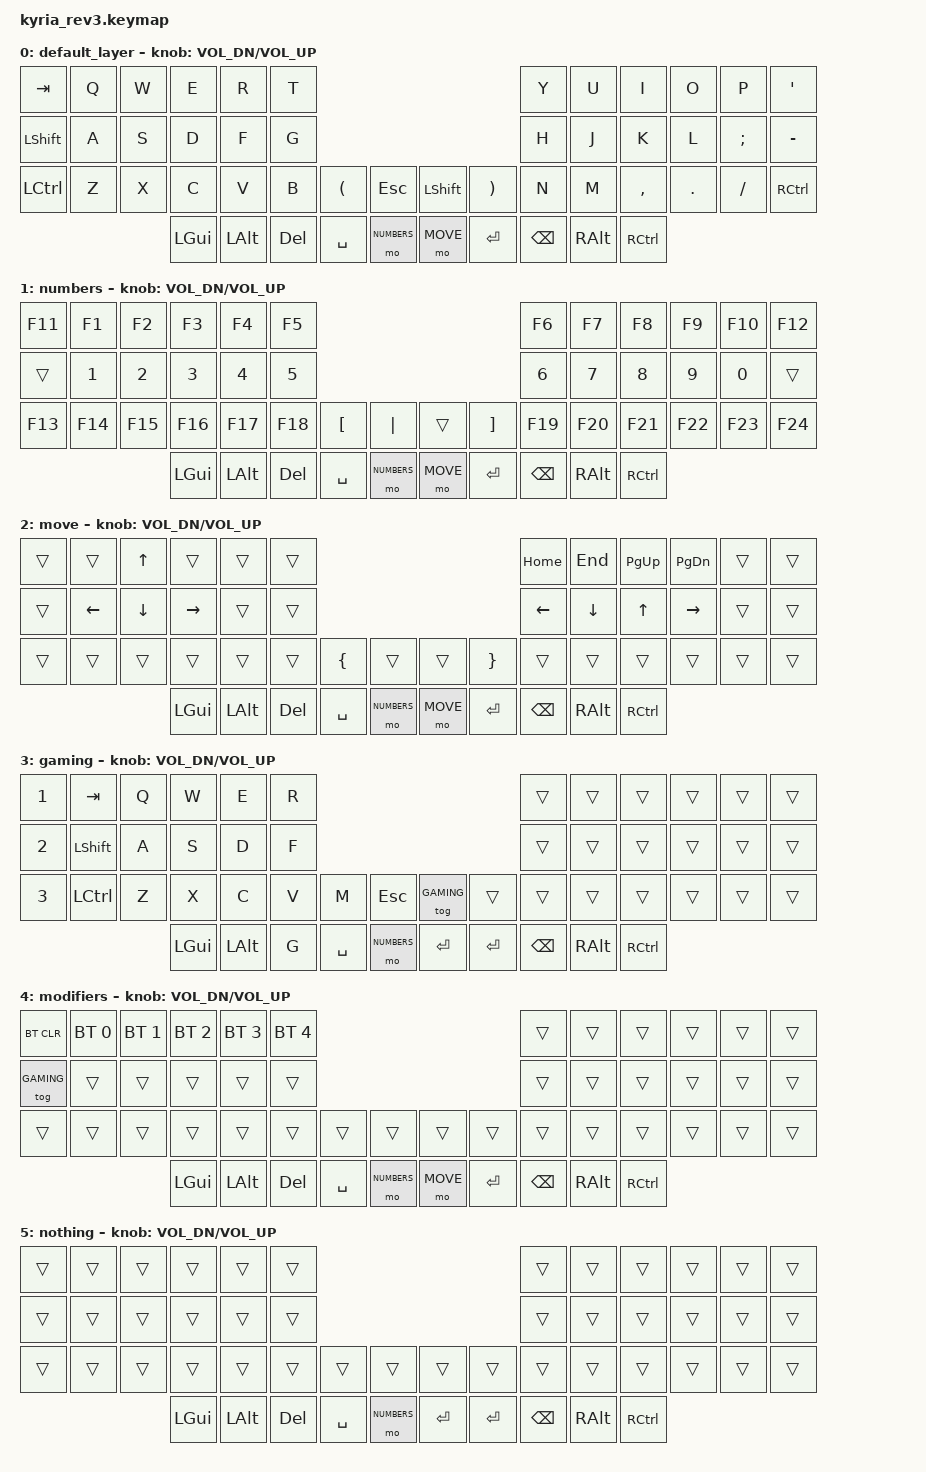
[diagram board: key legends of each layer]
/*
 * Copyright (c) 2020 The ZMK Contributors
 *
 * SPDX-License-Identifier: MIT
 */

#include <behaviors.dtsi>
#include <dt-bindings/zmk/keys.h>
#include <dt-bindings/zmk/bt.h>

#define DEFAULT 	0
#define NUMBERS 	1
#define MOVE		2
#define GAMING		3
#define MODIFIERS 	4
#define NOTHING 	5

&left_encoder   { resolution = <2>; };

/ {
    conditional_layers {
        compatible = "zmk,conditional-layers";
        tri_layer {
            if-layers = <1 2>;
            then-layer = <4>;
        };
    };
};

/ {
	keymap {
		compatible = "zmk,keymap";

		default_layer {
			bindings = <
	&kp TAB   &kp Q 	&kp W 		&kp E 		&kp R 		&kp T                                                		&kp Y 		&kp U  		&kp I 		&kp O 		&kp P		&kp SQT
	&kp LSHFT &kp A 	&kp S 		&kp D 		&kp F 		&kp G                                                		&kp H 		&kp J  		&kp K 		&kp L 		&kp SEMI 	&kp MINUS
	&kp LCTRL &kp Z 	&kp X 		&kp C 		&kp V 		&kp B 		&kp LPAR   	&kp ESC     	&kp LSHFT &kp RPAR 	&kp N 		&kp M 		&kp COMMA 	&kp PERIOD 	&kp SLASH 	&kp RCTRL
									&kp LGUI 	&kp LALT 	&kp DEL 	&kp SPACE 	&mo NUMBERS    	&mo MOVE  &kp RET   &kp BSPC 	&kp RALT 	&kp RCTRL
			>;
			sensor-bindings = <&inc_dec_kp C_VOL_DN C_VOL_UP>;
		};

		numbers {
			bindings = <
	&kp F11 &kp F1 	&kp F2 	&kp F3 		&kp F4 		&kp F5 																&kp F6 		&kp F7 		&kp F8 		&kp F9 		&kp F10 	&kp F12
	&trans 	&kp N1 	&kp N2 	&kp N3 		&kp N4 		&kp N5 																&kp N6 		&kp N7 		&kp N8 		&kp N9 		&kp N0 		&trans
	&kp F13 &kp F14 &kp F15	&kp F16 	&kp F17 	&kp F18 &kp LBKT 	&kp PIPE					&trans 	&kp RBKT 	&kp F19 	&kp F20 	&kp F21 	&kp F22 	&kp F23 	&kp F24
							&kp LGUI 	&kp LALT 	&kp DEL 	&kp SPACE 	&mo NUMBERS    			&mo MOVE  &kp RET   &kp BSPC 	&kp RALT 	&kp RCTRL
			>;
			sensor-bindings = <&inc_dec_kp C_VOL_DN C_VOL_UP>;
		};

		move {
			bindings = <
	&trans 	&trans 		&kp UP 		&trans 		&trans 	&trans 																&kp HOME 	&kp END 	&kp PG_UP 	&kp PG_DN 	&trans 	&trans
	&trans 	&kp LEFT 	&kp DOWN 	&kp RIGHT 	&trans 	&trans 																&kp LEFT 	&kp DOWN 	&kp UP 		&kp RIGHT 	&trans 	&trans
	&trans 	&trans 		&trans 		&trans 		&trans 	&trans 	&kp LBRC 	&trans						&trans &kp RBRC 	&trans 		&trans 		&trans 		&trans 		&trans 	&trans
							&kp LGUI 	&kp LALT 	&kp DEL 	&kp SPACE 	&mo NUMBERS    				&mo MOVE  &kp RET   &kp BSPC 	&kp RALT 	&kp RCTRL
			>;
			sensor-bindings = <&inc_dec_kp C_VOL_DN C_VOL_UP>;
		};

		gaming {
			bindings = <
	&kp N1 	&kp TAB 	&kp Q 	&kp W 	&kp E 	&kp R 															&trans 	&trans 	&trans 	&trans 	&trans 	&trans
	&kp N2 	&kp LSHFT 	&kp A 	&kp S 	&kp D 	&kp F 															&trans 	&trans 	&trans 	&trans 	&trans 	&trans
	&kp N3 	&kp LCTRL 	&kp Z 	&kp X 	&kp C 	&kp V 	&kp M 	&kp ESC						&tog GAMING &trans 	&trans 	&trans 	&trans 	&trans 	&trans 	&trans
							&kp LGUI 	&kp LALT 	&kp G &kp SPACE &mo NUMBERS 			&kp RET &kp RET &kp BSPC &kp RALT &kp RCTRL
			>;
			sensor-bindings = <&inc_dec_kp C_VOL_DN C_VOL_UP>;
		};

		modifiers {
			bindings = <
	&bt BT_CLR 	&bt BT_SEL 0 &bt BT_SEL 1 &bt BT_SEL 2 &bt BT_SEL 3 &bt BT_SEL 4 							&trans 	&trans 	&trans 	&trans 	&trans 	&trans
	&tog GAMING &trans 	&trans 	&trans 	&trans 	&trans 														&trans 	&trans 	&trans 	&trans 	&trans 	&trans
	&trans 		&trans 	&trans 	&trans 	&trans 	&trans 	&trans 	&trans						&trans &trans 	&trans 	&trans 	&trans 	&trans 	&trans 	&trans
							&kp LGUI 	&kp LALT 	&kp DEL 	&kp SPACE 	&mo NUMBERS    	&mo MOVE  &kp RET   &kp BSPC 	&kp RALT 	&kp RCTRL
			>;
			sensor-bindings = <&inc_dec_kp C_VOL_DN C_VOL_UP>;
		};

		nothing {
			bindings = <
	&trans 	&trans 	&trans 	&trans 	&trans 	&trans 														&trans 	&trans 	&trans 	&trans 	&trans 	&trans
	&trans 	&trans 	&trans 	&trans 	&trans 	&trans 														&trans 	&trans 	&trans 	&trans 	&trans 	&trans
	&trans 	&trans 	&trans 	&trans 	&trans 	&trans 	&trans 	&trans						&trans &trans 	&trans 	&trans 	&trans 	&trans 	&trans 	&trans
							&kp LGUI 	&kp LALT 	&kp DEL &kp SPACE &mo NUMBERS 		&kp RET &kp RET &kp BSPC &kp RALT &kp RCTRL
			>;
			sensor-bindings = <&inc_dec_kp C_VOL_DN C_VOL_UP>;
		};

	};
};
